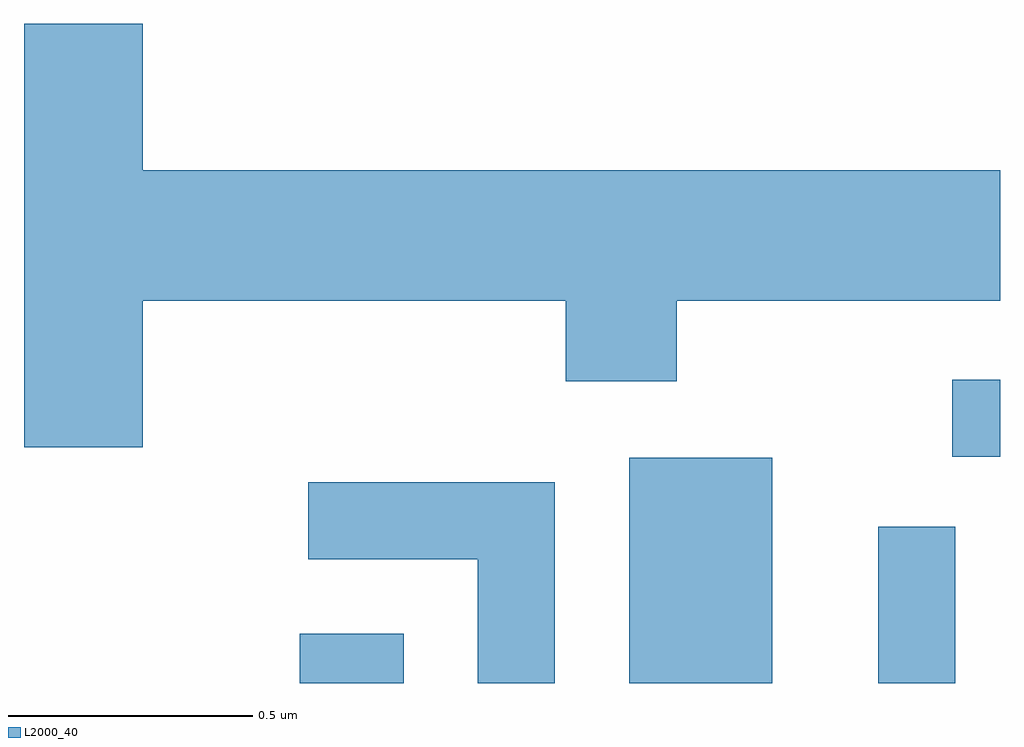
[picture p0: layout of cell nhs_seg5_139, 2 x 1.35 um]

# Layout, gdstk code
import gdstk
lib = gdstk.Library(unit=1e-6, precision=1e-09)
def R(c, l, rs):  # rectangles x0, y0, x1, y1
    for r in rs: c.add(gdstk.rectangle(r[:2], r[2:], *l))
def P(c, l, *ps):  # polygons
    for p in ps: c.add(gdstk.Polygon(p, *l))
L2000_40 = (2000, 40)

nhs_seg5_139 = lib.new_cell('nhs_seg5_139')
R(nhs_seg5_139, L2000_40, [(187.176,1396.072,187.389,1396.174), (187.851,1396.072,188.144,1396.534), (188.361,1396.072,188.519,1396.393), (188.513,1396.536,188.611,1396.694)])
P(nhs_seg5_139, L2000_40, [(186.854,1396.856),(187.721,1396.856),(187.721,1396.691),(187.949,1396.691),(187.949,1396.856),(188.611,1396.856),(188.611,1397.124),(186.854,1397.124),(186.854,1397.424),(186.611,1397.424),(186.611,1396.556),(186.854,1396.556)],
  [(187.699,1396.484),(187.193,1396.484),(187.193,1396.326),(187.541,1396.326),(187.541,1396.072),(187.699,1396.072)])

lib.write_gds('nhs_seg5_139.gds')
